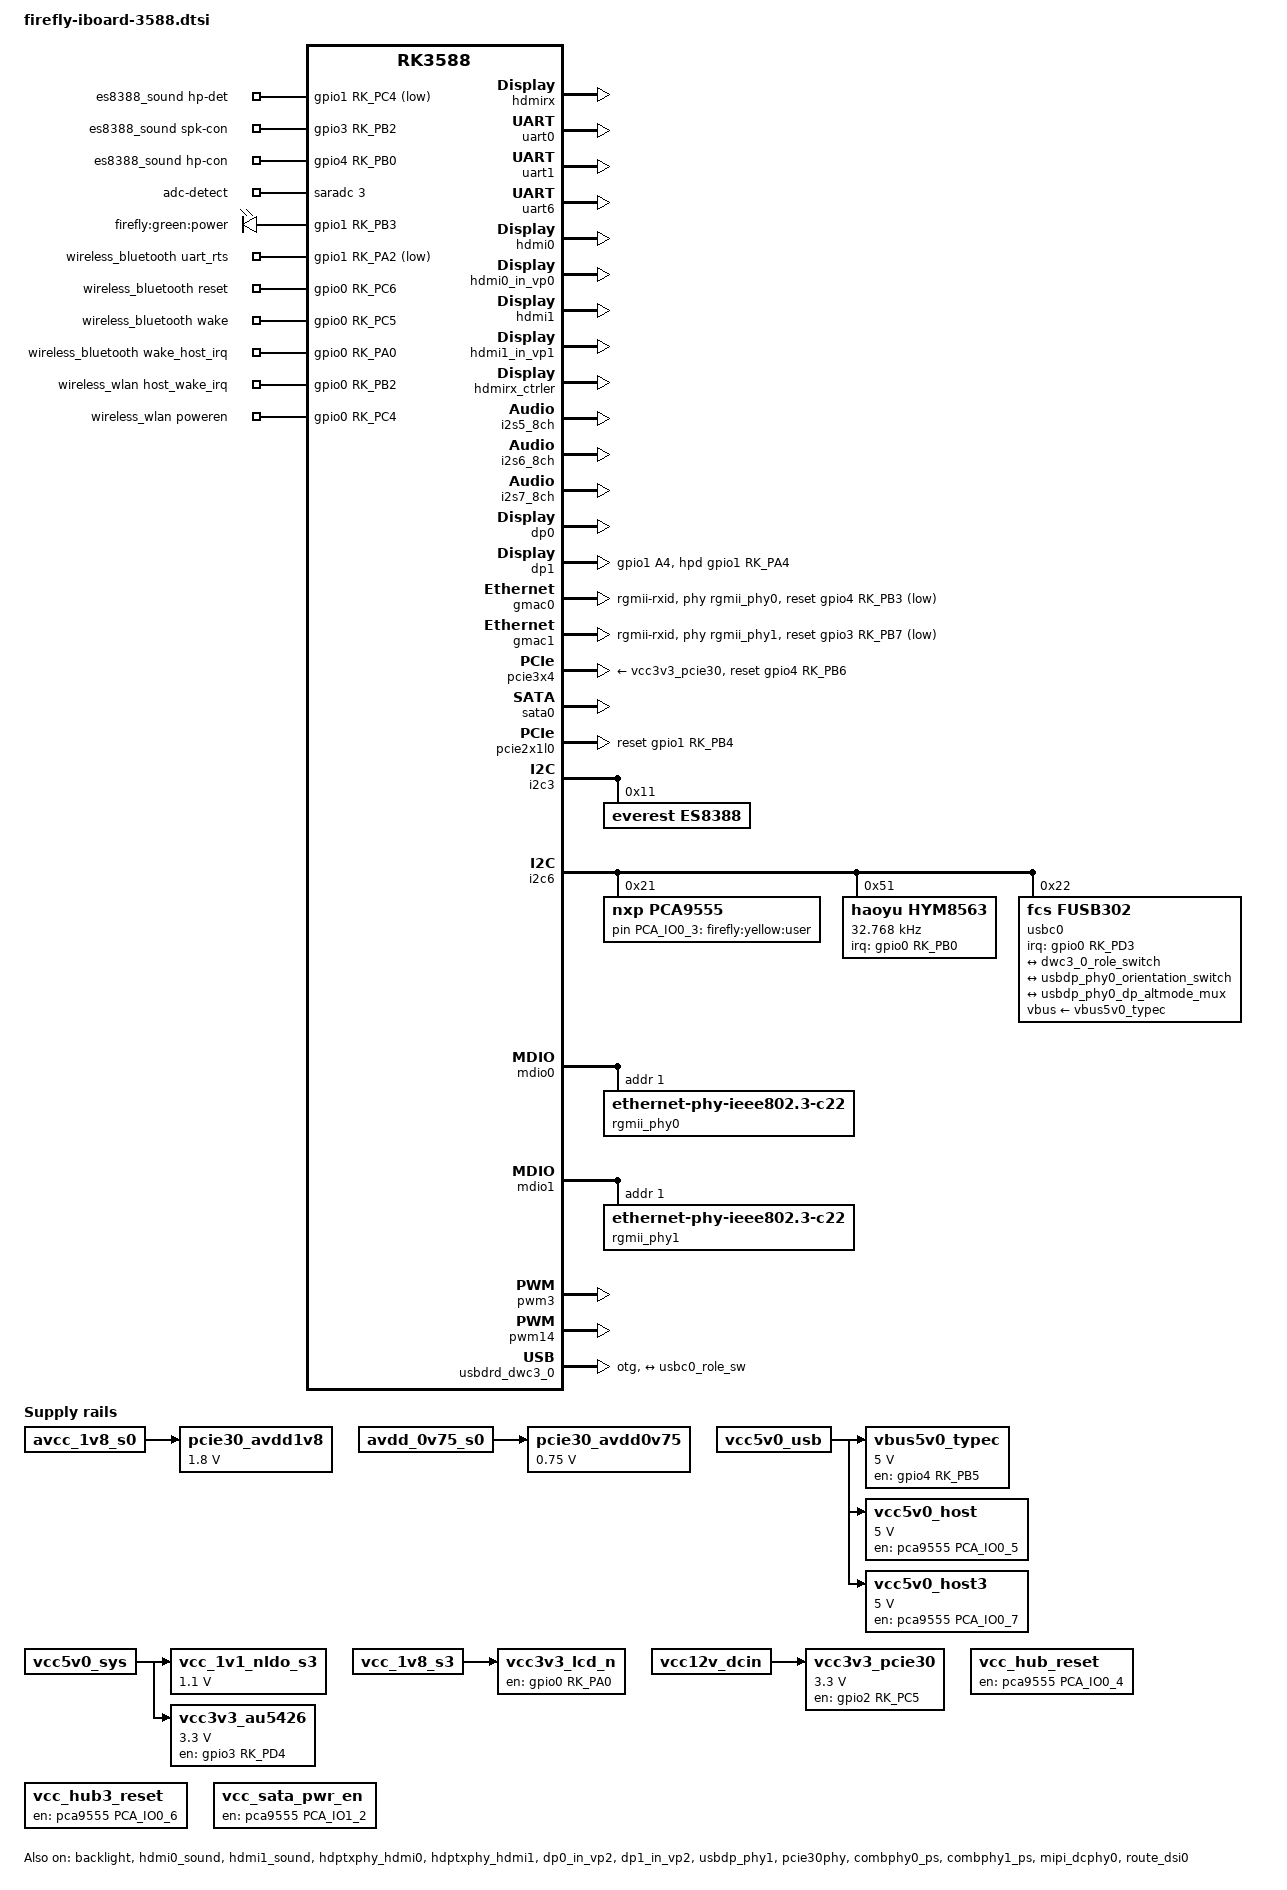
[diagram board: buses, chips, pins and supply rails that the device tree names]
// SPDX-License-Identifier: (GPL-2.0+ OR MIT)
/*
 * Copyright (c) 2021 Rockchip Electronics Co., Ltd.
 *
 */

#include "dt-bindings/usb/pd.h"
#include "rk3588.dtsi"
#include "rk3588-evb.dtsi"
#include "rk3588-firefly-rk806-single.dtsi"

/ {
        hdmiin_dc: hdmiin-dc {
                compatible = "rockchip,dummy-codec";
                #sound-dai-cells = <0>;
        };

        hdmiin-sound {
                compatible = "simple-audio-card";
                simple-audio-card,format = "i2s";
                simple-audio-card,name = "rockchip,hdmiin";
                simple-audio-card,bitclock-master = <&dailink0_master>;
                simple-audio-card,frame-master = <&dailink0_master>;
                status = "okay";
                simple-audio-card,cpu {
                        sound-dai = <&i2s7_8ch>;
                };
                dailink0_master: simple-audio-card,codec {
                        sound-dai = <&hdmiin_dc>;
                };
        };

    es8388_sound: es8388-sound {
		status = "okay";
		compatible = "rockchip,multicodecs-card";
		rockchip,card-name = "rockchip-es8388";
		hp-det-gpio = <&gpio1 RK_PC4 GPIO_ACTIVE_LOW>;
		io-channels = <&saradc 3>;
		io-channel-names = "adc-detect";
		keyup-threshold-microvolt = <1800000>;
		poll-interval = <100>;
		spk-con-gpio = <&gpio3 RK_PB2 GPIO_ACTIVE_HIGH>;
		hp-con-gpio = <&gpio4 RK_PB0 GPIO_ACTIVE_HIGH>;
		rockchip,format = "i2s";
		rockchip,mclk-fs = <256>;
		rockchip,cpu = <&i2s0_8ch>;
		rockchip,codec = <&es8388>;
		rockchip,audio-routing =
			"Headphone", "LOUT1",
			"Headphone", "ROUT1",
			"Speaker", "LOUT2",
			"Speaker", "ROUT2",
			"Headphone", "Headphone Power",
			"Headphone", "Headphone Power",
			"Speaker", "Speaker Power",
			"Speaker", "Speaker Power",
			"LINPUT1", "Main Mic",
			"LINPUT2", "Main Mic",
			"RINPUT1", "Headset Mic",
			"RINPUT2", "Headset Mic";
		pinctrl-names = "default";
		pinctrl-0 = <&hp_det>;
		play-pause-key {
			label = "playpause";
			linux,code = <KEY_PLAYPAUSE>;
			press-threshold-microvolt = <2000>;
		};
	};


	pcie30_avdd1v8: pcie30-avdd1v8 {
		compatible = "regulator-fixed";
		regulator-name = "pcie30_avdd1v8";
		regulator-boot-on;
		regulator-always-on;
		regulator-min-microvolt = <1800000>;
		regulator-max-microvolt = <1800000>;
		vin-supply = <&avcc_1v8_s0>;
	};

	pcie30_avdd0v75: pcie30-avdd0v75 {
		compatible = "regulator-fixed";
		regulator-name = "pcie30_avdd0v75";
		regulator-boot-on;
		regulator-always-on;
		regulator-min-microvolt = <750000>;
		regulator-max-microvolt = <750000>;
		vin-supply = <&avdd_0v75_s0>;
	};

	reserved-memory {
		#address-cells = <2>;
		#size-cells = <2>;
		ranges;

                /* Reserve 256MB memory for hdmirx-controller@fdee0000 */
		hdmirx: hdmirx-trans@10000000 {
			compatible = "shared-dma-pool";
			reusable;
			reg = <0x0 (256 * 0x100000) 0x0 (256 * 0x100000)>;
			linux,cma-default;
		};
	};

	vbus5v0_typec: vbus5v0-typec {
		compatible = "regulator-fixed";
		regulator-name = "vbus5v0_typec";
		regulator-min-microvolt = <5000000>;
		regulator-max-microvolt = <5000000>;
		enable-active-high;
		gpio = <&gpio4 RK_PB5 GPIO_ACTIVE_HIGH>;
		vin-supply = <&vcc5v0_usb>;
		pinctrl-names = "default";
		pinctrl-0 = <&typec5v_pwren>;
	};

	vcc_1v1_nldo_s3: vcc-1v1-nldo-s3 {
		compatible = "regulator-fixed";
		regulator-name = "vcc_1v1_nldo_s3";
		regulator-always-on;
		regulator-boot-on;
		regulator-min-microvolt = <1100000>;
		regulator-max-microvolt = <1100000>;
		vin-supply = <&vcc5v0_sys>;
	};

	vcc3v3_au5426: vcc3v3-au5426 {
		compatible = "regulator-fixed";
		regulator-name = "vcc3v3_au5426";
		regulator-min-microvolt = <3300000>;
		regulator-max-microvolt = <3300000>;
		enable-active-high;
		regulator-boot-on;
		regulator-always-on;
		gpios = <&gpio3 RK_PD4 GPIO_ACTIVE_HIGH>;
		startup-delay-us = <5000>;
		vin-supply = <&vcc5v0_sys>;
	};

	vcc3v3_lcd_n: vcc3v3-lcd0-n {
		compatible = "regulator-fixed";
		regulator-name = "vcc3v3_lcd0_n";
		regulator-boot-on;
		enable-active-high;
		gpio = <&gpio0 RK_PA0 GPIO_ACTIVE_HIGH>;
		vin-supply = <&vcc_1v8_s3>;
	};

	vcc5v0_host: vcc5v0-host {
		compatible = "regulator-fixed";
		regulator-name = "vcc5v0_host";
		regulator-boot-on;
		regulator-always-on;
		regulator-min-microvolt = <5000000>;
		regulator-max-microvolt = <5000000>;
		enable-active-high;
		gpio = <&pca9555 PCA_IO0_5 GPIO_ACTIVE_HIGH>;
		vin-supply = <&vcc5v0_usb>;
	};
        vcc5v0_host3: vcc5v0-host3 { 
               compatible = "regulator-fixed"; 
               regulator-name = "vcc5v0_host3"; 
               regulator-boot-on; 
               regulator-always-on; 
               regulator-min-microvolt = <5000000>; 
               regulator-max-microvolt = <5000000>; 
               enable-active-high; 
               gpio = <&pca9555 PCA_IO0_7 GPIO_ACTIVE_HIGH>;  //PCA_IO 07
               vin-supply = <&vcc5v0_usb>; 
       };
       vcc_hub_reset: vcc-hub-reset-regulator {
               compatible = "regulator-fixed"; 
	       regulator-name = "vcc5v0_host";
		regulator-boot-on;
               regulator-always-on; 
               enable-active-high; 
               gpio = <&pca9555 PCA_IO0_4 GPIO_ACTIVE_HIGH>;  //PCA_IO 04
       };
       vcc_hub3_reset: vcc-hub3-reset-regulator {
               compatible = "regulator-fixed";
               regulator-name = "vcc5v0_host";
                regulator-boot-on;
               regulator-always-on;
               enable-active-high;
               gpio = <&pca9555 PCA_IO0_6 GPIO_ACTIVE_HIGH>;  //PCA_IO 06
       };
       vcc_sata_pwr_en: vcc-sata-pwr-en-regulator {
               compatible = "regulator-fixed";
               regulator-name = "vcc_sata_pwr_en";
                regulator-boot-on;
               regulator-always-on;
               enable-active-high;
               gpio = <&pca9555 PCA_IO1_2 GPIO_ACTIVE_HIGH>;  //PCA_IO 12
       };

	vcc3v3_pcie30: vcc3v3-pcie30 {
		compatible = "regulator-fixed";
		regulator-name = "vcc3v3_pcie30";
		regulator-min-microvolt = <3300000>;
		regulator-max-microvolt = <3300000>;
		enable-active-high;
		gpios = <&gpio2 RK_PC5 GPIO_ACTIVE_HIGH>;
		startup-delay-us = <5000>;
		vin-supply = <&vcc12v_dcin>;
	};

	   firefly_leds: leds {
        compatible = "gpio-leds";
       	power_led: power {
           label = "firefly:green:power";
           linux,default-trigger = "ir-power-click";
           default-state = "on";
           gpios = <&gpio1 RK_PB3 GPIO_ACTIVE_HIGH>;
           pinctrl-names = "default";
           pinctrl-0 = <&led_power>;
       };

       user_led: user {
           label = "firefly:yellow:user";
           linux,default-trigger = "ir-user-click";
           default-state = "off";
           gpios = <&pca9555 PCA_IO0_3 GPIO_ACTIVE_HIGH>;
       };
	};
	
	wireless_bluetooth: wireless-bluetooth {
		compatible = "bluetooth-platdata";
		clocks = <&hym8563>;
		clock-names = "ext_clock";
		uart_rts_gpios = <&gpio1 RK_PA2 GPIO_ACTIVE_LOW>;
		pinctrl-names = "default", "rts_gpio";
		pinctrl-0 = <&uart6m1_rtsn>,  <&bt_reset_gpio>, <&bt_wake_gpio>, <&bt_irq_gpio>;
		pinctrl-1 = <&uart6_gpios>;
		BT,reset_gpio    = <&gpio0 RK_PC6 GPIO_ACTIVE_HIGH>;
		BT,wake_gpio     = <&gpio0 RK_PC5 GPIO_ACTIVE_HIGH>;
		BT,wake_host_irq = <&gpio0 RK_PA0 GPIO_ACTIVE_HIGH>;
		status = "okay";
	};

	wireless_wlan: wireless-wlan {
		compatible = "wlan-platdata";
		wifi_chip_type = "ap6275p";
		pinctrl-names = "default";
		pinctrl-0 = <&wifi_host_wake_irq>, <&wifi_poweren_gpio>;
		WIFI,host_wake_irq = <&gpio0 RK_PB2 GPIO_ACTIVE_HIGH>;
		WIFI,poweren_gpio = <&gpio0 RK_PC4 GPIO_ACTIVE_HIGH>;
		status = "okay";
	};
};

&uart0{
	pinctrl-0 = <&uart0m2_xfer>;
	status = "okay";
};

&uart1{
	pinctrl-0 = <&uart1m1_xfer>;
	status = "okay";
};

&uart6 {
	status = "okay";
	pinctrl-names = "default";
	pinctrl-0 = <&uart6m1_xfer &uart6m1_ctsn>;
};

&backlight {
	pwms = <&pwm3 0 25000 0>;
	status = "okay";
};

&hdmi0 {
        enable-gpios = <&gpio4 RK_PA0 GPIO_ACTIVE_HIGH>;
        status = "okay";
};

&hdmi0_in_vp0 {
        status = "okay";
};

&hdmi0_sound {
        status = "okay";
};

&hdmi1 {
        enable-gpios = <&gpio4 RK_PB2 GPIO_ACTIVE_HIGH>;
        status = "okay";
};

&hdmi1_in_vp1 {
        status = "okay";
};

&hdmi1_sound {
        status = "okay";
};

/* Should work with at least 128MB cma reserved above. */
&hdmirx_ctrler {
        status = "okay";
        memory-region = <&hdmirx>;

        /* Effective level used to trigger HPD: 0-low, 1-high */
        hpd-trigger-level = <1>;
        hdmirx-det-gpios = <&gpio1 RK_PD5 GPIO_ACTIVE_LOW>;
};

&hdptxphy_hdmi0 {
        status = "okay";
};

&hdptxphy_hdmi1 {
        status = "okay";
};

&i2s5_8ch {
        status = "okay";
};

&i2s6_8ch {
        status = "okay";
};

&i2s7_8ch {
        status = "okay";
};

&dp0 {
	status = "okay";
};

&dp0_in_vp2 {
	status = "okay";
};

&dp1 {
	status = "okay";
};

&dp1_in_vp2 {
	status = "okay";
};

&dp1 {
	pinctrl-names = "default";
	pinctrl-0 = <&dp1_hpd>;
	hpd-gpios = <&gpio1 RK_PA4 GPIO_ACTIVE_HIGH>;
	status = "okay";
};

&usbdp_phy1 {
	rockchip,dp-lane-mux = <2 3>;
	status = "okay";
};

/*
 * mipi_dcphy0 needs to be enabled
 * when dsi0 is enabled
 */
&dsi0 {
	status = "disabled";
};

&dsi0_in_vp2 {
	status = "disabled";
};

&dsi0_in_vp3 {
	status = "disabled";
};

&dsi0_panel {
	power-supply = <&vcc3v3_lcd_n>;
	reset-gpios = <&gpio2 RK_PB4 GPIO_ACTIVE_LOW>;
	pinctrl-names = "default";
	pinctrl-0 = <&lcd_rst_gpio>;
};

&gmac0 {
	/* Use rgmii-rxid mode to disable rx delay inside Soc */
	phy-mode = "rgmii-rxid";
	clock_in_out = "output";

	snps,reset-gpio = <&gpio4 RK_PB3 GPIO_ACTIVE_LOW>;
	snps,reset-active-low;
	/* Reset time is 20ms, 100ms for rtl8211f */
	snps,reset-delays-us = <0 20000 100000>;

	pinctrl-names = "default";
	pinctrl-0 = <&gmac0_miim
		     &gmac0_tx_bus2
		     &gmac0_rx_bus2
		     &gmac0_rgmii_clk
		     &gmac0_rgmii_bus>;

	tx_delay = <0x45>;
	//rx_delay = <0x4a>;

	phy-handle = <&rgmii_phy0>;
	status = "okay";
};

&gmac1 {
	/* Use rgmii-rxid mode to disable rx delay inside Soc */
	phy-mode = "rgmii-rxid";
	clock_in_out = "output";

	snps,reset-gpio = <&gpio3 RK_PB7 GPIO_ACTIVE_LOW>;
	snps,reset-active-low;
	/* Reset time is 20ms, 100ms for rtl8211f */
	snps,reset-delays-us = <0 20000 100000>;

	pinctrl-names = "default";
	pinctrl-0 = <&gmac1_miim
		     &gmac1_tx_bus2
		     &gmac1_rx_bus2
		     &gmac1_rgmii_clk
		     &gmac1_rgmii_bus>;

	tx_delay = <0x42>;
	//rx_delay = <0x4f>;

	phy-handle = <&rgmii_phy1>;
	status = "okay";
};

//PCIe3.0 x 4 Slot
&pcie30phy {
    rockchip,pcie30-phymode = <PHY_MODE_PCIE_AGGREGATION>;
    status = "okay";
};

&pcie3x4 {
    reset-gpios = <&gpio4 RK_PB6 GPIO_ACTIVE_HIGH>;
    vpcie3v3-supply = <&vcc3v3_pcie30>;
    status = "okay";
};
//PCIe3.0 x 4 Slot end

//SATA PM
&combphy0_ps {
       status = "okay";
};

&sata0 {
       status = "okay";
};
//SATA PM end

&combphy1_ps {
	status = "okay";
};


&pcie2x1l0 {
	reset-gpios = <&gpio1 RK_PB4 GPIO_ACTIVE_HIGH>;
	rockchip,skip-scan-in-resume;
	status = "okay";
};

&i2c3 {
	status = "okay";

	es8388: es8388@11 {
		status = "okay";
		#sound-dai-cells = <0>;
		compatible = "everest,es8388", "everest,es8323";
		reg = <0x11>;
		clocks = <&cru I2S0_8CH_MCLKOUT>;
		clock-names = "mclk";
		assigned-clocks = <&cru I2S0_8CH_MCLKOUT>;
		assigned-clock-rates = <12288000>;
		pinctrl-names = "default";
		pinctrl-0 = <&i2s0_mclk>;
	};
};


&i2c6 {
	status = "okay";
	pinctrl-names = "default";
	pinctrl-0 = <&i2c6m0_xfer>;
        pca9555: gpio@21 { 
               status = "okay"; 
               compatible = "nxp,pca9555"; 
               reg = <0x21>; 
               gpio-controller; 
               #gpio-cells = <2>; 
               gpio-group-num = <200>; 
       };

	hym8563: hym8563@51 {
		compatible = "haoyu,hym8563";
		reg = <0x51>;
		#clock-cells = <0>;
		clock-frequency = <32768>;
		clock-output-names = "hym8563";
		pinctrl-names = "default";
		pinctrl-0 = <&hym8563_int>;
		interrupt-parent = <&gpio0>;
		interrupts = <RK_PB0 IRQ_TYPE_LEVEL_LOW>;
		wakeup-source;
	};

	usbc0: fusb302@22 {
		compatible = "fcs,fusb302";
		reg = <0x22>;
		interrupt-parent = <&gpio0>;
		interrupts = <RK_PD3 IRQ_TYPE_LEVEL_LOW>;
		pinctrl-names = "default";
		pinctrl-0 = <&usbc0_int>;
		vbus-supply = <&vbus5v0_typec>;
		status = "okay";

		ports {
			#address-cells = <1>;
			#size-cells = <0>;

			port@0 {
				reg = <0>;
				usbc0_role_sw: endpoint@0 {
					remote-endpoint = <&dwc3_0_role_switch>;
				};
			};
		};

		usb_con: connector {
			compatible = "usb-c-connector";
			label = "USB-C";
			data-role = "dual";
			power-role = "dual";
			try-power-role = "sink";
			op-sink-microwatt = <1000000>;
			sink-pdos =
				<PDO_FIXED(5000, 1000, PDO_FIXED_USB_COMM)>;
			source-pdos =
				<PDO_FIXED(5000, 3000, PDO_FIXED_USB_COMM)>;

			altmodes {
				#address-cells = <1>;
				#size-cells = <0>;

				altmode@0 {
					reg = <0>;
					svid = <0xff01>;
					vdo = <0xffffffff>;
				};
			};

			ports {
				#address-cells = <1>;
				#size-cells = <0>;

				port@0 {
					reg = <0>;
					usbc0_orien_sw: endpoint {
						remote-endpoint = <&usbdp_phy0_orientation_switch>;
					};
				};

				port@1 {
					reg = <1>;
					dp_altmode_mux: endpoint {
						remote-endpoint = <&usbdp_phy0_dp_altmode_mux>;
					};
				};
			};
		};
	};
};

&mdio0 {
	rgmii_phy0: phy@1 {
		compatible = "ethernet-phy-ieee802.3-c22";
		reg = <0x1>;
	};
};

&mdio1 {
	rgmii_phy1: phy@1 {
		compatible = "ethernet-phy-ieee802.3-c22";
		reg = <0x1>;
	};
};

&mipi_dcphy0 {
	status = "okay";
};

&pinctrl {

	dp {
		dp1_hpd: dp1-hpd {
			 rockchip,pins = <1 RK_PA4 RK_FUNC_GPIO &pcfg_pull_none>;
		};
	};

    leds {
         led_power: led-power {
             rockchip,pins = <1 11 RK_FUNC_GPIO &pcfg_pull_none>;
         };
    };


	headphone {
		hp_det: hp-det {
			rockchip,pins = <1 RK_PC4 RK_FUNC_GPIO &pcfg_pull_none>;
		};
	};

	hym8563 {
		hym8563_int: hym8563-int {
			rockchip,pins = <0 RK_PB0 RK_FUNC_GPIO &pcfg_pull_up>;
		};
	};
	lcd {
		lcd_rst_gpio: lcd-rst-gpio {
			rockchip,pins = <2 RK_PB4 RK_FUNC_GPIO &pcfg_pull_none>;
		};
	};

	touch {
		touch_gpio: touch-gpio {
			rockchip,pins =
				<0 RK_PD5 RK_FUNC_GPIO &pcfg_pull_up>,
				<0 RK_PC6 RK_FUNC_GPIO &pcfg_pull_none>;
		};
	};

        usb-typec { 
               usbc0_int: usbc0-int { 
                       rockchip,pins = <0 RK_PD3 RK_FUNC_GPIO &pcfg_pull_up>; 
               }; 


                typec5v_pwren: typec5v-pwren { 
                       rockchip,pins = <4 RK_PB5 RK_FUNC_GPIO &pcfg_pull_none>; 
               };
       };

	wireless-bluetooth {
		uart6_gpios: uart6-gpios {
			rockchip,pins = <1 RK_PA2 RK_FUNC_GPIO &pcfg_pull_none>;
		};

		bt_reset_gpio: bt-reset-gpio {
			rockchip,pins = <0 RK_PC6 RK_FUNC_GPIO &pcfg_pull_none>;
		};

		bt_wake_gpio: bt-wake-gpio {
			rockchip,pins = <0 RK_PC5 RK_FUNC_GPIO &pcfg_pull_none>;
		};

		bt_irq_gpio: bt-irq-gpio {
			rockchip,pins = <0 RK_PA0 RK_FUNC_GPIO &pcfg_pull_down>;
		};
	};

	wireless-wlan {
		wifi_host_wake_irq: wifi-host-wake-irq {
			rockchip,pins = <0 RK_PB2 RK_FUNC_GPIO &pcfg_pull_down>;
		};

		wifi_poweren_gpio: wifi-poweren-gpio {
			rockchip,pins = <0 RK_PC4 RK_FUNC_GPIO &pcfg_pull_up>;
		};
	};
};

&pwm3 {
	status = "okay";
};

&pwm14 {
	pinctrl-0 = <&pwm14m1_pins>;
	status = "okay";
};

&route_dsi0 {
	status = "okay";
	connect = <&vp3_out_dsi0>;
};

&u2phy0_otg { 
       rockchip,typec-vbus-det; 
}; 

&u2phy1_otg { 
       phy-supply = <&vcc5v0_host>; 
}; 

&u2phy2_host { 
       phy-supply = <&vcc5v0_host>; 
}; 

&u2phy3_host { 
       phy-supply = <&vcc5v0_host>; 
};

&u2phy1_otg {
	phy-supply = <&vcc5v0_host>;
};

&usbdp_phy0 {
	orientation-switch;
	svid = <0xff01>;
	sbu1-dc-gpios = <&gpio4 RK_PA6 GPIO_ACTIVE_HIGH>;
	sbu2-dc-gpios = <&gpio4 RK_PA7 GPIO_ACTIVE_HIGH>;

	port {
		#address-cells = <1>;
		#size-cells = <0>;
		usbdp_phy0_orientation_switch: endpoint@0 {
			reg = <0>;
			remote-endpoint = <&usbc0_orien_sw>;
		};

		usbdp_phy0_dp_altmode_mux: endpoint@1 {
			reg = <1>;
			remote-endpoint = <&dp_altmode_mux>;
		};
	};
};

&usbdrd_dwc3_0 {
	dr_mode = "otg";
	usb-role-switch;
	port {
		#address-cells = <1>;
		#size-cells = <0>;
		dwc3_0_role_switch: endpoint@0 {
			reg = <0>;
			remote-endpoint = <&usbc0_role_sw>;
		};
	};
};

&usbhost3_0 {
	status = "disabled";
};

&usbhost_dwc3_0 {
	status = "disabled";
};
